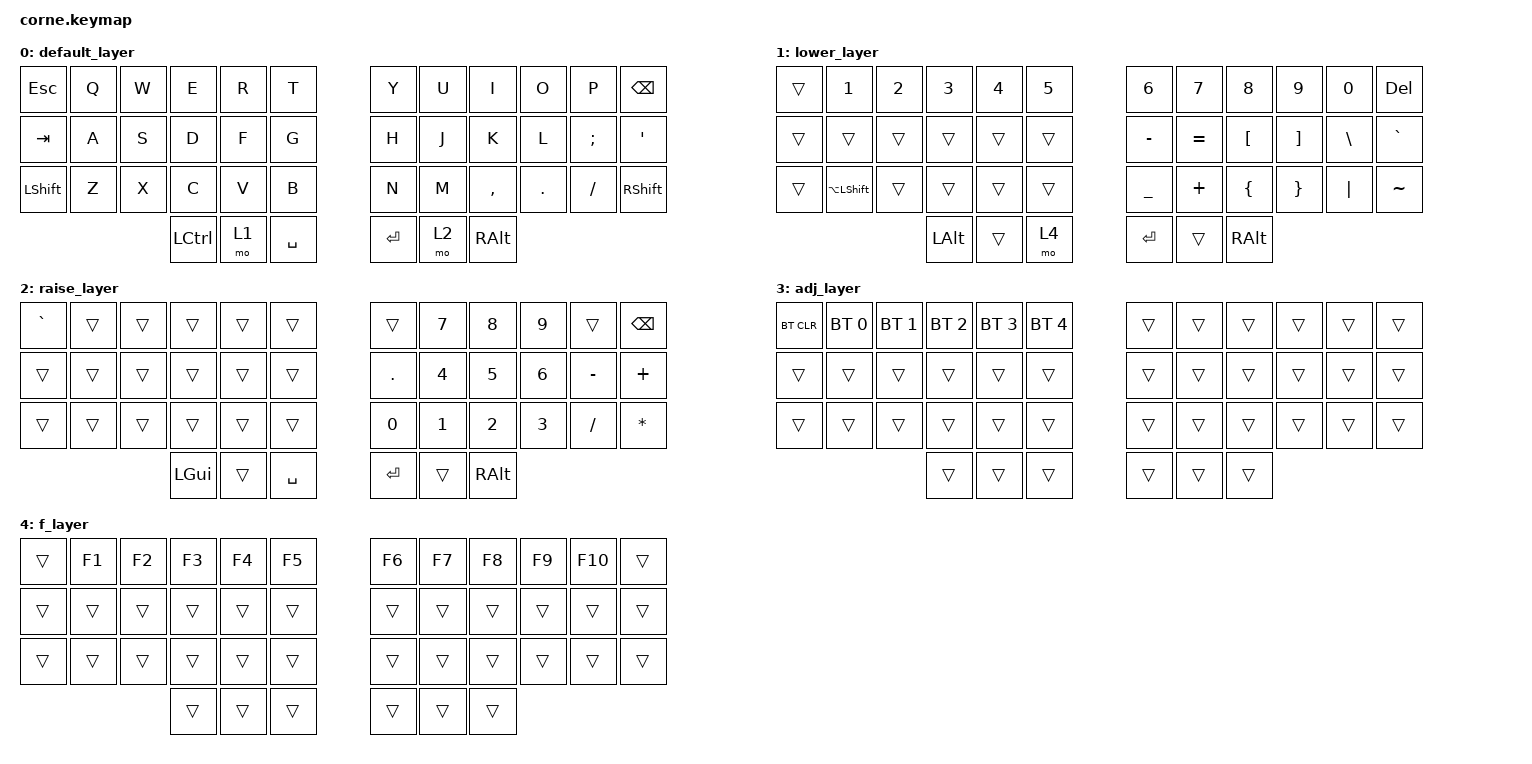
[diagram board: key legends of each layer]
/*
 * Copyright (c) 2020 The ZMK Contributors
 *
 * SPDX-License-Identifier: MIT
 */

#include <behaviors.dtsi>
#include <dt-bindings/zmk/bt.h>
#include <dt-bindings/zmk/keys.h>

/ {
    combos {
        compatible = "zmk,combos";

        up {
            bindings = <&kp UP>;
            key-positions = <7 19>;
        };

        left {
            bindings = <&kp LEFT>;
            key-positions = <18 19>;
        };

        right {
            bindings = <&kp RIGHT>;
            key-positions = <19 20>;
        };

        down {
            bindings = <&kp DOWN>;
            key-positions = <19 31>;
        };

        minus {
            bindings = <&kp MINUS>;
            key-positions = <8 9>;
        };

        equal {
            bindings = <&kp EQUAL>;
            key-positions = <9 10>;
        };

        mplay {
            bindings = <&kp C_PLAY>;
            key-positions = <10 11>;
        };

        mnext {
            bindings = <&kp C_NEXT>;
            key-positions = <22 23>;
        };

        mprev {
            bindings = <&kp C_PREV>;
            key-positions = <34 35>;
        };

        vup {
            bindings = <&kp C_VOL_UP>;
            key-positions = <22 10>;
        };

        vdown {
            bindings = <&kp C_VOL_DN>;
            key-positions = <22 34>;
        };

        cut {
            bindings = <&kp RC(X)>;
            key-positions = <25 26>;
        };

        copy {
            bindings = <&kp RC(C)>;
            key-positions = <26 27>;
        };

        paste {
            bindings = <&kp LC(V)>;
            key-positions = <27 28>;
        };

        close {
            bindings = <&kp LA(F4)>;
            key-positions = <4 16>;
        };

        n1 {
            bindings = <&kp N1>;
            key-positions = <1 0>;
        };

        n2 {
            bindings = <&kp N2>;
            key-positions = <1 2>;
        };

        n3 {
            bindings = <&kp N3>;
            key-positions = <2 3>;
        };

        n4 {
            bindings = <&kp N4>;
            key-positions = <3 4>;
        };

        n5 {
            bindings = <&kp N5>;
            key-positions = <4 5>;
        };

        n6 {
            bindings = <&kp N6>;
            key-positions = <6 7>;
        };

        n7 {
            bindings = <&kp N7>;
            key-positions = <7 8>;
        };

        n8 {
            bindings = <&kp N8>;
            key-positions = <8 9>;
        };

        n9 {
            bindings = <&kp N9>;
            key-positions = <9 10>;
        };

        n0 {
            bindings = <&kp N0>;
            key-positions = <10 11>;
        };
    };

    keymap {
        compatible = "zmk,keymap";

        default_layer {
            // -----------------------------------------------------------------------------------------
            // |  TAB |  Q  |  W  |  E  |  R  |  T  |   |  Y  |  U   |  I  |  O  |  P  | BKSP |
            // | CTRL |  A  |  S  |  D  |  F  |  G  |   |  H  |  J   |  K  |  L  |  ;  |  '   |
            // | SHFT |  Z  |  X  |  C  |  V  |  B  |   |  N  |  M   |  ,  |  .  |  /  | ESC  |
            //                    | GUI | LWR | SPC |   | ENT | RSE  | ALT |

            bindings = <
&kp ESC     &kp Q  &kp W  &kp E      &kp R  &kp T        &kp Y    &kp U  &kp I      &kp O    &kp P     &kp BSPC
&kp TAB     &kp A  &kp S  &kp D      &kp F  &kp G        &kp H    &kp J  &kp K      &kp L    &kp SEMI  &kp SQT
&kp LSHIFT  &kp Z  &kp X  &kp C      &kp V  &kp B        &kp N    &kp M  &kp COMMA  &kp DOT  &kp FSLH  &kp RSHIFT
                          &kp LCTRL  &mo 1  &kp SPACE    &kp RET  &mo 2  &kp RALT
            >;
        };

        lower_layer {
            // -----------------------------------------------------------------------------------------
            // |  TAB |  !  |  @  |  #  |  $  |  %  |   |  ^  |  &  |  *  |  (  |  )  | BKSP |
            // | CTRL |     |     |     |     |     |   |  -  |  =  |  [  |  ]  |  \  |  `   |
            // | SHFT |     |     |     |     |     |   |  _  |  +  |  {  |  }  | "|" |  ~   |
            //                    | GUI |     | SPC |   | ENT |     | ALT |

            bindings = <
&trans  &kp N1              &kp N2  &kp N3        &kp N4  &kp N5    &kp N6     &kp N7     &kp N8    &kp N9    &kp N0    &kp DEL
&trans  &trans              &trans  &trans        &trans  &trans    &kp MINUS  &kp EQUAL  &kp LBKT  &kp RBKT  &kp BSLH  &kp GRAVE
&trans  &kp LA(LEFT_SHIFT)  &trans  &trans        &trans  &trans    &kp UNDER  &kp PLUS   &kp LBRC  &kp RBRC  &kp PIPE  &kp TILDE
                                    &kp LEFT_ALT  &trans  &mo 4     &kp RET    &trans     &kp RALT
            >;
        };

        raise_layer {
            // -----------------------------------------------------------------------------------------
            // |  TAB |  1  |  2  |  3  |  4  |  5  |   |  6  |  7  |  8  |  9  |  0  | BKSP |
            // | BTCLR| BT1 | BT2 | BT3 | BT4 | BT5 |   | LFT | DWN |  UP | RGT |     |      |
            // | SHFT |     |     |     |     |     |   |     |     |     |     |     |      |
            //                    | GUI |     | SPC |   | ENT |     | ALT |

            bindings = <
&kp GRAVE  &trans  &trans  &trans    &trans  &trans       &trans   &kp N7  &kp N8    &kp N9  &trans     &kp BSPC
&trans     &trans  &trans  &trans    &trans  &trans       &kp DOT  &kp N4  &kp N5    &kp N6  &kp MINUS  &kp PLUS
&trans     &trans  &trans  &trans    &trans  &trans       &kp N0   &kp N1  &kp N2    &kp N3  &kp SLASH  &kp ASTERISK
                           &kp LGUI  &trans  &kp SPACE    &kp RET  &trans  &kp RALT
            >;
        };

        adj_layer {
            bindings = <
&bt BT_CLR  &bt BT_SEL 0  &bt BT_SEL 1  &bt BT_SEL 2  &bt BT_SEL 3  &bt BT_SEL 4    &trans  &trans  &trans  &trans  &trans  &trans
&trans      &trans        &trans        &trans        &trans        &trans          &trans  &trans  &trans  &trans  &trans  &trans
&trans      &trans        &trans        &trans        &trans        &trans          &trans  &trans  &trans  &trans  &trans  &trans
                                        &trans        &trans        &trans          &trans  &trans  &trans
            >;
        };

        f_layer {
            bindings = <
&trans  &kp F1  &kp F2  &kp F3  &kp F4  &kp F5    &kp F6  &kp F7  &kp F8  &kp F9  &kp F10  &trans
&trans  &trans  &trans  &trans  &trans  &trans    &trans  &trans  &trans  &trans  &trans   &trans
&trans  &trans  &trans  &trans  &trans  &trans    &trans  &trans  &trans  &trans  &trans   &trans
                        &trans  &trans  &trans    &trans  &trans  &trans
            >;
        };
    };

    conditional_layers {
        compatible = "zmk,conditional-layers";

        adjast {
            if-layers = <2 1>;
            then-layer = <3>;
        };
    };
};
